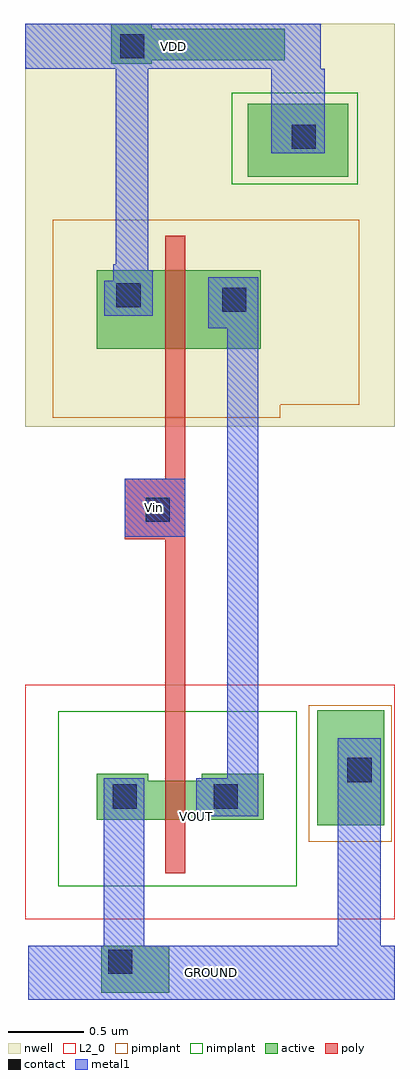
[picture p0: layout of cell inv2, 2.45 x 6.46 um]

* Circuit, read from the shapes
.subckt inv2 GROUND VDD VOUT Vin
M1 VOUT Vin GROUND GROUND nfet w=0.26u l=0.13u
M2 VOUT Vin VDD VDD pfet w=0.52u l=0.13u
.ends

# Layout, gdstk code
import gdstk
lib = gdstk.Library(unit=1e-6, precision=1e-09)
def R(c, l, rs):  # rectangles x0, y0, x1, y1
    for r in rs: c.add(gdstk.rectangle(r[:2], r[2:], *l))
def P(c, l, *ps):  # polygons
    for p in ps: c.add(gdstk.Polygon(p, *l))
L2_0 = (2, 0)
nwell = (3, 0)
active = (6, 0)
poly = (17, 0)
pimplant = (25, 0)
nimplant = (26, 0)
contact = (30, 0)
metal1 = (31, 0)

inv2 = lib.new_cell('inv2')
R(inv2, L2_0, [(-0.54,-4.55,1.91,-2.995)])
R(inv2, nwell, [(-0.54,-1.285,1.91,1.385)])
R(inv2, active, [(-0.035,-5.035,0.415,-4.725), (1.395,-3.925,1.84,-3.165), (-0.065,-0.77,1.02,-0.25), (0.935,0.37,1.6,0.855)])
P(inv2, active, [(0.03,1.12),(0.3,1.12),(0.3,1.14),(1.18,1.14),(1.18,1.35),(0.3,1.35),(0.3,1.385),(0.03,1.385)],
  [(-0.065,-3.89),(1.04,-3.89),(1.04,-3.585),(0.63,-3.585),(0.63,-3.63),(0.275,-3.63),(0.275,-3.585),(-0.065,-3.585)])
P(inv2, poly, [(0.12,-2.03),(0.39,-2.03),(0.39,-4.245),(0.52,-4.245),(0.52,-0.02),(0.39,-0.02),(0.39,-1.63),(0.12,-1.63)])
R(inv2, pimplant, [(1.34,-4.035,1.89,-3.13)])
P(inv2, pimplant, [(-0.355,-1.225),(1.15,-1.225),(1.15,-1.14),(1.675,-1.14),(1.675,0.085),(-0.355,0.085)])
R(inv2, nimplant, [(-0.32,-4.33,1.26,-3.17), (0.83,0.32,1.665,0.925)])
R(inv2, contact, [(0.01,-4.91,0.17,-4.75), (0.04,-3.815,0.2,-3.655), (0.71,-3.815,0.87,-3.655), (1.595,-3.64,1.755,-3.48), (0.26,-1.915,0.42,-1.755), (0.765,-0.525,0.925,-0.365), (0.065,-0.495,0.225,-0.335), (1.225,0.555,1.385,0.715), (0.09,1.155,0.25,1.315)])
R(inv2, metal1, [(-0.52,-5.08,1.91,-4.725), (-0.02,-4.725,0.25,-3.615), (1.53,-4.725,1.815,-3.35), (0.12,-2.015,0.52,-1.63), (1.09,0.525,1.445,1.085), (-0.54,1.085,1.42,1.385)])
P(inv2, metal1, [(0.595,-3.865),(1.005,-3.865),(1.005,-0.295),(0.675,-0.295),(0.675,-0.635),(0.8,-0.635),(0.8,-3.615),(0.595,-3.615)],
  [(-0.015,-0.55),(0.305,-0.55),(0.305,-0.25),(0.275,-0.25),(0.275,1.09),(0.06,1.09),(0.06,-0.21),(0.045,-0.21),(0.045,-0.32),(-0.015,-0.32)])
inv2.add(gdstk.Label('VDD', (0.44,1.235), layer=131, texttype=0))
inv2.add(gdstk.Label('Vin', (0.32,-1.823), layer=131, texttype=0))
inv2.add(gdstk.Label('GROUND', (0.695,-4.903), layer=131, texttype=0))
inv2.add(gdstk.Label('VOUT', (0.595,-3.865), layer=131, texttype=0))
inv2.add(gdstk.Label('VDD', (0.44,1.235), layer=31, texttype=0))
inv2.add(gdstk.Label('Vin', (0.32,-1.823), layer=31, texttype=0))
inv2.add(gdstk.Label('GROUND', (0.695,-4.903), layer=31, texttype=0))
inv2.add(gdstk.Label('VOUT', (0.595,-3.865), layer=31, texttype=0))

lib.write_gds('inv2.gds')
